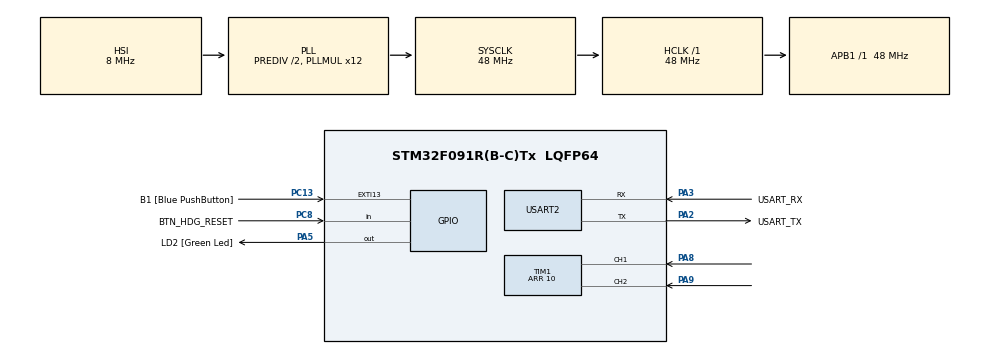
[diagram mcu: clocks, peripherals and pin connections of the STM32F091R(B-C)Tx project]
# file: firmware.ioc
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Mcu.Family=STM32F0
Mcu.Name=STM32F091R(B-C)Tx
Mcu.Package=LQFP64
NVIC.EXTI4_15_IRQn=true\:3\:0\:true\:false\:true\:true\:true\:true
PA13.GPIO_Label=TMS
PA13.Mode=Serial_Wire
PA13.Signal=SYS_SWDIO
PA14.GPIO_Label=TCK
PA14.Mode=Serial_Wire
PA14.Signal=SYS_SWCLK
PA2.GPIO_Label=USART_TX
PA2.GPIO_Mode=GPIO_MODE_AF_PP
PA2.GPIO_PuPd=GPIO_NOPULL
PA2.GPIO_Speed=GPIO_SPEED_FREQ_LOW
PA2.Mode=Asynchronous
PA2.Signal=USART2_TX
PA3.GPIO_Label=USART_RX
PA3.GPIO_Mode=GPIO_MODE_AF_PP
PA3.GPIO_PuPd=GPIO_NOPULL
PA3.GPIO_Speed=GPIO_SPEED_FREQ_LOW
PA3.Mode=Asynchronous
PA3.Signal=USART2_RX
PA5.GPIO_Label=LD2 [Green Led]
PA5.GPIO_Mode=GPIO_MODE_OUTPUT_PP
PA5.GPIO_PuPd=GPIO_NOPULL
PA5.GPIO_Speed=GPIO_SPEED_FREQ_LOW
PA5.Signal=GPIO_Output
PA8.Signal=S_TIM1_CH1
PA9.Signal=S_TIM1_CH2
PC13.GPIO_Label=B1 [Blue PushButton]
PC13.GPIO_ModeDefaultEXTI=GPIO_MODE_IT_FALLING
PC13.Signal=GPXTI13
PC14OSC32_IN.Mode=LSE-External-Oscillator
PC14OSC32_IN.Signal=RCC_OSC32_IN
PC15OSC32_OUT.Mode=LSE-External-Oscillator
PC15OSC32_OUT.Signal=RCC_OSC32_OUT
PC8.GPIO_Label=BTN_HDG_RESET
PC8.Signal=GPIO_Input
PF0-OSC_IN.Mode=HSE-External-Clock-Source
PF0-OSC_IN.Signal=RCC_OSC_IN
PF1-OSC_OUT.Signal=RCC_OSC_OUT
ProjectManager.HeapSize=0x200
ProjectManager.StackSize=0x400
ProjectManager.TargetToolchain=STM32CubeIDE
RCC.AHBFreq_Value=48000000
RCC.APB1Freq_Value=48000000
RCC.APB1TimFreq_Value=48000000
RCC.FLatency-AdvancedSettings=FLASH_LATENCY_1
RCC.HCLKFreq_Value=48000000
RCC.PLLDivider=RCC_PREDIV_DIV2
RCC.PLLMUL=RCC_PLL_MUL12
RCC.PREFETCH_ENABLE-AdvancedSettings=1
RCC.SYSCLKFreq_VALUE=48000000
RCC.SYSCLKSource=RCC_SYSCLKSOURCE_PLLCLK
SH.S_TIM1_CH1.0=TIM1_CH1,Encoder_Interface
SH.S_TIM1_CH2.0=TIM1_CH2,Encoder_Interface
TIM1.Period=10
USART2.VirtualMode=VM_ASYNC
USART2.VirtualMode-Asynchronous=VM_ASYNC
board=NUCLEO-F091RC

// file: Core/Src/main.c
/* USER CODE BEGIN Header */
/**
  ******************************************************************************
  * @file           : main.c
  * @brief          : Main program body
  ******************************************************************************
  * @attention
  *
  * Copyright (c) 2025 STMicroelectronics.
  * All rights reserved.
  *
  * This software is licensed under terms that can be found in the LICENSE file
  * in the root directory of this software component.
  * If no LICENSE file comes with this software, it is provided AS-IS.
  *
  ******************************************************************************
  */
/* USER CODE END Header */
#include "main.h"

/* USER CODE BEGIN Includes */
# include "stdio.h"
#include "string.h"
/* USER CODE END Includes */

TIM_HandleTypeDef htim1;

UART_HandleTypeDef huart2;

void SystemClock_Config(void);
static void MX_GPIO_Init(void);
static void MX_USART2_UART_Init(void);
static void MX_TIM1_Init(void);

/* USER CODE BEGIN 0 */
int __io_putchar(int ch)
{
	HAL_UART_Transmit(&huart2, (uint8_t*)&ch, 1, HAL_MAX_DELAY);
	return 1;
}

# define COMMAND_MAX_LENGTH 40
static char command_buffer[COMMAND_MAX_LENGTH + 1];
static uint32_t command_length;

#define CMD_TEST_LED_ON "LED:TEST:1"
#define CMD_TEST_LED_OFF "LED:TEST:0"

void command_append(uint8_t value)
{
	if(value == '\r' || value == '\n')
	{
		if(command_length > 0 )
		{
			command_buffer[command_length] = '\0';
			command_length = 0;

			if(strcmp(command_buffer, CMD_TEST_LED_ON) == 0)
			{
				printf("ACK:%s\r\n", command_buffer);
				HAL_GPIO_WritePin(LD2_GPIO_Port, LD2_Pin, GPIO_PIN_SET);
			}
			else if(strcmp(command_buffer, CMD_TEST_LED_OFF) == 0)
			{
				printf("ACK:%s\r\n", command_buffer);
				HAL_GPIO_WritePin(LD2_GPIO_Port, LD2_Pin, GPIO_PIN_RESET);
			}
			else
			{
				printf("ERROR: Unknown Command: %s\r\n", command_buffer);
			}
		}
	}
	else
	{
		if (command_length == COMMAND_MAX_LENGTH)
		{
			command_length = 0;
		}
		command_buffer[command_length++] = value;

	}
}

/* USER CODE END 0 */

int main(void)
{

  /* MCU Configuration--------------------------------------------------------*/

  /* Reset of all peripherals, Initializes the Flash interface and the Systick. */
  HAL_Init();

  /* Configure the system clock */
  SystemClock_Config();

  /* Initialize all configured peripherals */
  MX_GPIO_Init();
  MX_USART2_UART_Init();
  MX_TIM1_Init();
  /* USER CODE BEGIN 2 */
  printf("STARTED");
  HAL_TIM_Encoder_Start(&htim1, TIM_CHANNEL_ALL);

  int16_t prev_state_hdg_bug = 0;
  GPIO_PinState prev_state_hdg_reset = GPIO_PIN_SET;

  /* USER CODE END 2 */

  /* Infinite loop */
  /* USER CODE BEGIN WHILE */
  while (1)
  {
	  uint8_t uartValue = 0xFF;
	  HAL_StatusTypeDef status = HAL_UART_Receive(&huart2, &uartValue, 1, 0);
	  if (status == HAL_OK)
	  {
		  command_append(uartValue);
	  }

	  int16_t state_hdg_bug =__HAL_TIM_GET_COUNTER(&htim1);
	  if(state_hdg_bug != prev_state_hdg_bug)
	  {
		  HAL_GPIO_TogglePin(LD2_GPIO_Port, LD2_Pin);
		  printf("HDG:%d\r\n", state_hdg_bug);
		  prev_state_hdg_bug = state_hdg_bug;
	  }

 	  GPIO_PinState state_hdg_reset = HAL_GPIO_ReadPin(BTN_HDG_RESET_GPIO_Port, BTN_HDG_RESET_Pin);
	  if(state_hdg_reset == GPIO_PIN_RESET && prev_state_hdg_reset == GPIO_PIN_SET)
	  {
		  printf("HDG:RESET\r\n");
	  }
	  prev_state_hdg_reset = state_hdg_reset;
    /* USER CODE END WHILE */

  }
}

void SystemClock_Config(void)
{
  RCC_OscInitTypeDef RCC_OscInitStruct = {0};
  RCC_ClkInitTypeDef RCC_ClkInitStruct = {0};
  RCC_PeriphCLKInitTypeDef PeriphClkInit = {0};

  /** Initializes the RCC Oscillators according to the specified parameters
  * in the RCC_OscInitTypeDef structure.
  */
  RCC_OscInitStruct.OscillatorType = RCC_OSCILLATORTYPE_HSI;
  RCC_OscInitStruct.HSIState = RCC_HSI_ON;
  RCC_OscInitStruct.HSICalibrationValue = RCC_HSICALIBRATION_DEFAULT;
  RCC_OscInitStruct.PLL.PLLState = RCC_PLL_ON;
  RCC_OscInitStruct.PLL.PLLSource = RCC_PLLSOURCE_HSI;
  RCC_OscInitStruct.PLL.PLLMUL = RCC_PLL_MUL12;
  RCC_OscInitStruct.PLL.PREDIV = RCC_PREDIV_DIV2;
  if (HAL_RCC_OscConfig(&RCC_OscInitStruct) != HAL_OK)
  {
    Error_Handler();
  }

  /** Initializes the CPU, AHB and APB buses clocks
  */
  RCC_ClkInitStruct.ClockType = RCC_CLOCKTYPE_HCLK|RCC_CLOCKTYPE_SYSCLK
                              |RCC_CLOCKTYPE_PCLK1;
  RCC_ClkInitStruct.SYSCLKSource = RCC_SYSCLKSOURCE_PLLCLK;
  RCC_ClkInitStruct.AHBCLKDivider = RCC_SYSCLK_DIV1;
  RCC_ClkInitStruct.APB1CLKDivider = RCC_HCLK_DIV1;

  if (HAL_RCC_ClockConfig(&RCC_ClkInitStruct, FLASH_LATENCY_1) != HAL_OK)
  {
    Error_Handler();
  }
  PeriphClkInit.PeriphClockSelection = RCC_PERIPHCLK_USART2;
  PeriphClkInit.Usart2ClockSelection = RCC_USART2CLKSOURCE_PCLK1;
  if (HAL_RCCEx_PeriphCLKConfig(&PeriphClkInit) != HAL_OK)
  {
    Error_Handler();
  }
}

static void MX_TIM1_Init(void)
{

  TIM_Encoder_InitTypeDef sConfig = {0};
  TIM_MasterConfigTypeDef sMasterConfig = {0};

  htim1.Instance = TIM1;
  htim1.Init.Prescaler = 0;
  htim1.Init.CounterMode = TIM_COUNTERMODE_UP;
  htim1.Init.Period = 10;
  htim1.Init.ClockDivision = TIM_CLOCKDIVISION_DIV1;
  htim1.Init.RepetitionCounter = 0;
  htim1.Init.AutoReloadPreload = TIM_AUTORELOAD_PRELOAD_DISABLE;
  sConfig.EncoderMode = TIM_ENCODERMODE_TI1;
  sConfig.IC1Polarity = TIM_ICPOLARITY_RISING;
  sConfig.IC1Selection = TIM_ICSELECTION_DIRECTTI;
  sConfig.IC1Prescaler = TIM_ICPSC_DIV1;
  sConfig.IC1Filter = 0;
  sConfig.IC2Polarity = TIM_ICPOLARITY_RISING;
  sConfig.IC2Selection = TIM_ICSELECTION_DIRECTTI;
  sConfig.IC2Prescaler = TIM_ICPSC_DIV1;
  sConfig.IC2Filter = 0;
  if (HAL_TIM_Encoder_Init(&htim1, &sConfig) != HAL_OK)
  {
    Error_Handler();
  }
  sMasterConfig.MasterOutputTrigger = TIM_TRGO_RESET;
  sMasterConfig.MasterSlaveMode = TIM_MASTERSLAVEMODE_DISABLE;
  if (HAL_TIMEx_MasterConfigSynchronization(&htim1, &sMasterConfig) != HAL_OK)
  {
    Error_Handler();
  }

}

static void MX_USART2_UART_Init(void)
{

  huart2.Instance = USART2;
  huart2.Init.BaudRate = 115200;
  huart2.Init.WordLength = UART_WORDLENGTH_8B;
  huart2.Init.StopBits = UART_STOPBITS_1;
  huart2.Init.Parity = UART_PARITY_NONE;
  huart2.Init.Mode = UART_MODE_TX_RX;
  huart2.Init.HwFlowCtl = UART_HWCONTROL_NONE;
  huart2.Init.OverSampling = UART_OVERSAMPLING_16;
  huart2.Init.OneBitSampling = UART_ONE_BIT_SAMPLE_DISABLE;
  huart2.AdvancedInit.AdvFeatureInit = UART_ADVFEATURE_NO_INIT;
  if (HAL_UART_Init(&huart2) != HAL_OK)
  {
    Error_Handler();
  }

}

static void MX_GPIO_Init(void)
{
  GPIO_InitTypeDef GPIO_InitStruct = {0};

  /* GPIO Ports Clock Enable */
  __HAL_RCC_GPIOC_CLK_ENABLE();
  __HAL_RCC_GPIOF_CLK_ENABLE();
  __HAL_RCC_GPIOA_CLK_ENABLE();

  /*Configure GPIO pin Output Level */
  HAL_GPIO_WritePin(LD2_GPIO_Port, LD2_Pin, GPIO_PIN_RESET);

  /*Configure GPIO pin : B1_Pin */
  GPIO_InitStruct.Pin = B1_Pin;
  GPIO_InitStruct.Mode = GPIO_MODE_IT_FALLING;
  GPIO_InitStruct.Pull = GPIO_NOPULL;
  HAL_GPIO_Init(B1_GPIO_Port, &GPIO_InitStruct);

  /*Configure GPIO pin : LD2_Pin */
  GPIO_InitStruct.Pin = LD2_Pin;
  GPIO_InitStruct.Mode = GPIO_MODE_OUTPUT_PP;
  GPIO_InitStruct.Pull = GPIO_NOPULL;
  GPIO_InitStruct.Speed = GPIO_SPEED_FREQ_LOW;
  HAL_GPIO_Init(LD2_GPIO_Port, &GPIO_InitStruct);

  /*Configure GPIO pin : BTN_HDG_RESET_Pin */
  GPIO_InitStruct.Pin = BTN_HDG_RESET_Pin;
  GPIO_InitStruct.Mode = GPIO_MODE_INPUT;
  GPIO_InitStruct.Pull = GPIO_NOPULL;
  HAL_GPIO_Init(BTN_HDG_RESET_GPIO_Port, &GPIO_InitStruct);

  /* EXTI interrupt init*/
  HAL_NVIC_SetPriority(EXTI4_15_IRQn, 3, 0);
  HAL_NVIC_EnableIRQ(EXTI4_15_IRQn);

}

void Error_Handler(void)
{
  __disable_irq();
  while (1)
  {
  }
}
